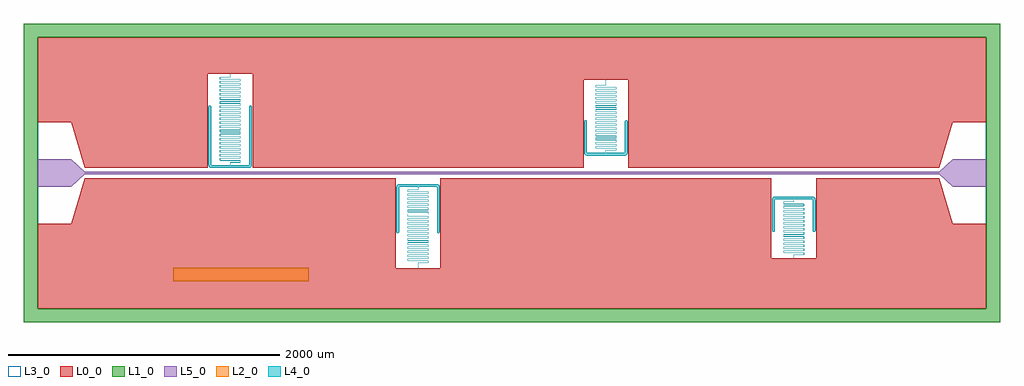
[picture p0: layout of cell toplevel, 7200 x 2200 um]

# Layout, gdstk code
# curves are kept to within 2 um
import gdstk
lib = gdstk.Library(unit=1e-6, precision=1e-09)
def R(c, l, rs):  # rectangles x0, y0, x1, y1
    for r in rs: c.add(gdstk.rectangle(r[:2], r[2:], *l))
def P(c, l, *ps):  # polygons
    for p in ps: c.add(gdstk.Polygon(p, *l))
L0_0 = (0, 0)
L1_0 = (1, 0)
L2_0 = (2, 0)
L3_0 = (3, 0)
L4_0 = (4, 0)
L5_0 = (5, 0)

toplevel = lib.new_cell('toplevel')
P(toplevel, L0_0, [(-1914,732.5),(-1914,37.5),(528,37.5),(528,688.167),(858,688.167),(858,37.5),(3150,37.5),(3250,375),(3500,375),(3500,1000),(-3500,1000),(-3500,375),(-3250,375),(-3150,37.5),(-2244,37.5),(-2244,732.5)],
  [(3500,-1000),(3500,-375),(3250,-375),(3150,-37.5),(2244,-37.5),(2244,-628.5),(1914,-628.5),(1914,-37.5),(-528,-37.5),(-528,-702.833),(-858,-702.833),(-858,-37.5),(-3150,-37.5),(-3250,-375),(-3500,-375),(-3500,-1000)])
P(toplevel, L1_0, [(3600,1100),(-3600,1100),(-3600,-1000),(-3500,-1000),(-3500,1000),(3500,1000),(3500,-1000),(-3500,-1000),(-3600,-1000),(-3600,-1100),(3600,-1100)])
R(toplevel, L2_0, [(-2500,-800,-1500,-700)])
R(toplevel, L3_0, [(-3500,-1000,3500,1000)])
P(toplevel, L4_0, [(-1947.256,37.5),(-1936.018,38.652),(-1927.664,42.765),(-1921.925,49.852),(-1919.25,59.469),(-1919,302.861),(-1939,302.861),(-1939.028,63.36),(-1940.06,58.461),(-1946.931,57.5),(-2069,57.5),(-2078.7,62.5),(-2078.291,77.175),(-2004.361,77.305),(-2003.703,78.388),(-2003.702,91.589),(-2004.693,92.78),(-2153.666,93.171),(-2153.696,106.609),(-2153.132,107.195),(-2003.928,107.636),(-2003.704,121.63),(-2004.73,122.785),(-2152.888,122.8),(-2153.7,123.606),(-2153.176,137.191),(-2003.961,137.594),(-2003.707,151.684),(-2004.755,152.787),(-2152.94,152.8),(-2153.7,153.591),(-2153.184,167.19),(-2004.035,167.513),(-2003.707,181.684),(-2004.755,182.787),(-2152.94,182.8),(-2153.7,183.591),(-2153.184,197.19),(-2004.118,197.442),(-2003.707,211.683),(-2004.755,212.787),(-2152.935,212.8),(-2153.7,213.591),(-2153.184,227.19),(-2004.211,227.379),(-2003.702,241.56),(-2004.755,242.787),(-2152.935,242.8),(-2153.699,243.48),(-2153.184,257.19),(-2004.407,257.287),(-2003.706,258.346),(-2003.702,271.56),(-2004.755,272.787),(-2152.935,272.8),(-2153.699,273.476),(-2153.184,287.19),(-2004.571,287.241),(-2003.706,288.34),(-2003.702,301.56),(-2005.111,302.8),(-2154.195,302.861),(-2152.964,302.2),(-2004.428,302.03),(-2004.798,287.812),(-2152.888,287.8),(-2153.959,287.492),(-2154.3,286.404),(-2154.287,273.249),(-2153.251,272.213),(-2004.458,272.061),(-2004.798,257.812),(-2152.888,257.8),(-2153.959,257.492),(-2154.3,256.404),(-2154.295,243.352),(-2153.251,242.213),(-2004.535,242.115),(-2004.798,227.812),(-2152.888,227.8),(-2153.959,227.492),(-2154.3,226.404),(-2154.289,213.274),(-2153.251,212.213),(-2004.686,212.17),(-2004.605,197.854),(-2153.245,197.787),(-2154.292,196.684),(-2154.3,183.59),(-2152.97,182.2),(-2004.815,182.19),(-2004.466,167.932),(-2153.245,167.787),(-2154.292,166.684),(-2154.3,153.59),(-2152.97,152.2),(-2004.815,152.19),(-2004.433,137.964),(-2153.251,137.787),(-2154.294,136.666),(-2154.3,123.595),(-2153.987,122.535),(-2152.888,122.2),(-2004.85,122.193),(-2004.303,121.595),(-2004.3,108.612),(-2005.112,107.8),(-2153.238,107.788),(-2154.294,106.653),(-2154.3,93.612),(-2153.982,92.529),(-2152.888,92.2),(-2004.811,92.19),(-2004.45,77.946),(-2078.481,77.746),(-2079.296,76.612),(-2079.3,62.5),(-2089,57.5),(-2211.878,57.504),(-2217.976,58.489),(-2218.998,64.94),(-2219,302.861),(-2239,302.861),(-2238.965,62.829),(-2236.945,51.792),(-2234.619,47.373),(-2231.507,43.761),(-2223.471,39.103),(-2213.255,37.524)],
  [(-2153.433,302.869),(-2153.631,303.067),(-2153.699,303.471),(-2153.698,316.567),(-2153.572,317.03),(-2153.184,317.19),(-2005.036,317.2),(-2004.526,317.252),(-2004.142,317.424),(-2003.875,317.718),(-2003.73,318.13),(-2003.707,331.678),(-2003.797,332.119),(-2004.007,332.459),(-2004.328,332.681),(-2004.755,332.787),(-2152.935,332.8),(-2153.476,332.891),(-2153.678,333.229),(-2153.698,346.567),(-2153.572,347.03),(-2153.184,347.19),(-2005.036,347.2),(-2004.532,347.25),(-2004.148,347.42),(-2003.883,347.705),(-2003.733,348.11),(-2003.707,361.677),(-2003.797,362.119),(-2004.007,362.459),(-2004.328,362.681),(-2004.755,362.787),(-2152.935,362.8),(-2153.471,362.888),(-2153.675,363.213),(-2153.698,376.567),(-2153.572,377.03),(-2153.184,377.19),(-2005.036,377.2),(-2004.532,377.25),(-2004.155,377.415),(-2003.887,377.699),(-2003.737,378.091),(-2003.707,391.677),(-2003.797,392.119),(-2004.007,392.459),(-2004.328,392.681),(-2004.755,392.787),(-2152.935,392.8),(-2153.468,392.887),(-2153.673,393.201),(-2153.698,406.567),(-2153.572,407.03),(-2153.18,407.191),(-2005.041,407.2),(-2004.545,407.247),(-2004.167,407.407),(-2003.898,407.68),(-2003.743,408.065),(-2003.707,421.677),(-2003.797,422.119),(-2004.007,422.459),(-2004.328,422.681),(-2004.755,422.787),(-2152.93,422.8),(-2153.46,422.882),(-2153.67,423.186),(-2153.698,436.567),(-2153.572,437.03),(-2153.18,437.191),(-2005.041,437.2),(-2004.552,437.245),(-2004.18,437.398),(-2003.907,437.667),(-2003.749,438.039),(-2003.707,451.677),(-2003.797,452.119),(-2004.007,452.459),(-2004.328,452.681),(-2004.755,452.787),(-2152.93,452.8),(-2153.454,452.879),(-2153.665,453.168),(-2153.698,466.567),(-2153.572,467.03),(-2153.18,467.191),(-2005.041,467.2),(-2004.558,467.244),(-2004.192,467.39),(-2003.92,467.648),(-2003.757,468.006),(-2003.707,481.671),(-2003.795,482.112),(-2004.002,482.453),(-2004.328,482.681),(-2004.755,482.787),(-2152.93,482.8),(-2153.445,482.875),(-2153.66,483.15),(-2153.698,496.563),(-2153.572,497.03),(-2153.18,497.191),(-2005.041,497.2),(-2004.205,497.383),(-2003.937,497.624),(-2003.768,497.967),(-2003.7,498.547),(-2003.707,511.671),(-2003.795,512.112),(-2004.002,512.453),(-2004.328,512.681),(-2004.755,512.787),(-2152.93,512.8),(-2153.436,512.871),(-2153.654,513.129),(-2153.698,526.563),(-2153.572,527.03),(-2153.18,527.191),(-2005.047,527.2),(-2004.231,527.368),(-2003.961,527.593),(-2003.783,527.921),(-2003.7,528.541),(-2003.707,541.672),(-2003.795,542.112),(-2004.002,542.453),(-2004.328,542.681),(-2004.755,542.787),(-2152.925,542.8),(-2153.421,542.864),(-2153.645,543.102),(-2153.698,556.563),(-2153.572,557.03),(-2153.18,557.191),(-2005.047,557.2),(-2004.25,557.357),(-2003.981,557.57),(-2003.802,557.868),(-2003.7,558.53),(-2003.706,571.665),(-2003.795,572.112),(-2004.002,572.453),(-2004.328,572.681),(-2004.755,572.787),(-2152.925,572.8),(-2153.405,572.858),(-2153.633,573.073),(-2153.7,573.55),(-2153.698,586.558),(-2153.574,587.028),(-2153.18,587.191),(-2005.052,587.2),(-2004.283,587.34),(-2003.831,587.802),(-2003.7,588.519),(-2003.706,601.659),(-2003.795,602.112),(-2004.002,602.453),(-2004.328,602.681),(-2004.755,602.787),(-2152.92,602.8),(-2153.385,602.85),(-2153.618,603.04),(-2153.7,603.54),(-2153.698,616.558),(-2153.574,617.028),(-2153.18,617.191),(-2005.058,617.2),(-2004.328,617.319),(-2003.871,617.724),(-2003.7,618.503),(-2003.706,631.653),(-2003.792,632.106),(-2004.002,632.453),(-2004.328,632.681),(-2004.755,632.787),(-2152.92,632.8),(-2153.361,632.843),(-2153.596,633.003),(-2153.7,633.53),(-2153.698,646.553),(-2153.574,647.028),(-2153.18,647.191),(-2005.063,647.2),(-2004.388,647.295),(-2003.937,647.624),(-2003.76,647.993),(-2003.701,648.48),(-2003.705,661.642),(-2003.79,662.099),(-2003.997,662.448),(-2004.322,662.678),(-2004.749,662.787),(-2152.914,662.8),(-2153.328,662.834),(-2153.565,662.962),(-2153.7,663.52),(-2153.699,676.544),(-2153.575,677.025),(-2153.18,677.191),(-2005.074,677.2),(-2004.473,677.266),(-2004.047,677.502),(-2003.79,677.901),(-2003.701,678.452),(-2003.704,691.618),(-2003.785,692.086),(-2003.991,692.442),(-2004.315,692.675),(-2004.749,692.787),(-2152.909,692.8),(-2153.514,692.916),(-2153.654,693.129),(-2153.699,693.5),(-2153.699,706.505),(-2153.602,706.987),(-2153.287,707.175),(-2080.069,707.2),(-2079.257,707.354),(-2078.843,707.776),(-2078.701,708.457),(-2078.7,732.5),(-2079.3,732.5),(-2079.3,708.52),(-2079.355,708.102),(-2079.535,707.885),(-2080.08,707.8),(-2153.416,707.761),(-2153.795,707.617),(-2154.067,707.37),(-2154.236,707.02),(-2154.298,706.571),(-2154.298,693.429),(-2154.184,692.835),(-2153.864,692.428),(-2153.461,692.249),(-2152.92,692.2),(-2004.82,692.191),(-2004.425,692.025),(-2004.301,691.539),(-2004.3,678.51),(-2004.456,677.941),(-2005.091,677.8),(-2153.251,677.787),(-2153.685,677.675),(-2154.008,677.442),(-2154.213,677.092),(-2154.296,676.63),(-2154.299,663.463),(-2154.226,662.947),(-2154.014,662.564),(-2153.573,662.281),(-2152.931,662.2),(-2004.82,662.191),(-2004.425,662.025),(-2004.302,661.548),(-2004.3,648.525),(-2004.418,647.984),(-2004.653,647.839),(-2005.086,647.8),(-2153.245,647.787),(-2153.678,647.678),(-2154.003,647.448),(-2154.21,647.099),(-2154.295,646.648),(-2154.299,633.491),(-2154.25,633.032),(-2154.097,632.673),(-2153.645,632.308),(-2152.937,632.2),(-2004.82,632.191),(-2004.426,632.028),(-2004.302,631.553),(-2004.3,618.54),(-2004.391,618.024),(-2004.625,617.847),(-2005.08,617.8),(-2153.245,617.787),(-2153.671,617.681),(-2153.998,617.453),(-2154.205,617.112),(-2154.294,616.659),(-2154.3,603.508),(-2154.15,602.763),(-2153.698,602.331),(-2152.948,602.2),(-2004.82,602.191),(-2004.426,602.028),(-2004.302,601.558),(-2004.3,588.545),(-2004.373,588.058),(-2004.602,587.855),(-2005.075,587.8),(-2153.245,587.787),(-2153.671,587.681),(-2153.998,587.453),(-2154.205,587.112),(-2154.294,586.665),(-2154.3,573.525),(-2154.184,572.835),(-2153.73,572.347),(-2152.948,572.2),(-2004.82,572.191),(-2004.426,572.028),(-2004.302,571.558),(-2004.36,558.089),(-2004.586,557.861),(-2005.075,557.8),(-2153.245,557.787),(-2153.671,557.681),(-2153.998,557.453),(-2154.205,557.112),(-2154.294,556.665),(-2154.3,543.536),(-2154.208,542.894),(-2154.029,542.582),(-2153.763,542.364),(-2152.953,542.2),(-2004.82,542.191),(-2004.428,542.03),(-2004.302,541.563),(-2004.35,528.115),(-2004.573,527.867),(-2005.075,527.8),(-2153.245,527.787),(-2153.671,527.681),(-2153.998,527.453),(-2154.205,527.112),(-2154.293,526.672),(-2154.3,513.547),(-2154.226,512.947),(-2154.053,512.612),(-2153.782,512.375),(-2152.953,512.2),(-2004.82,512.191),(-2004.428,512.03),(-2004.302,511.563),(-2004.343,498.139),(-2004.561,497.872),(-2005.07,497.8),(-2153.245,497.787),(-2153.671,497.681),(-2153.998,497.453),(-2154.205,497.112),(-2154.293,496.671),(-2154.238,482.987),(-2154.072,482.636),(-2153.801,482.387),(-2153.435,482.243),(-2152.959,482.2),(-2004.82,482.191),(-2004.428,482.03),(-2004.302,481.563),(-2004.337,468.16),(-2004.549,467.878),(-2005.07,467.8),(-2153.245,467.787),(-2153.671,467.681),(-2153.992,467.459),(-2154.203,467.119),(-2154.293,466.677),(-2154.246,453.019),(-2154.085,452.655),(-2153.814,452.394),(-2153.441,452.244),(-2152.959,452.2),(-2004.82,452.191),(-2004.428,452.03),(-2004.302,451.567),(-2004.332,438.179),(-2004.543,437.881),(-2005.07,437.8),(-2153.245,437.787),(-2153.671,437.681),(-2153.992,437.459),(-2154.203,437.119),(-2154.293,436.677),(-2154.254,423.052),(-2154.097,422.673),(-2153.827,422.403),(-2153.454,422.247),(-2152.959,422.2),(-2004.82,422.191),(-2004.428,422.03),(-2004.302,421.567),(-2004.329,408.194),(-2004.535,407.885),(-2005.065,407.8),(-2153.245,407.787),(-2153.671,407.681),(-2153.992,407.459),(-2154.203,407.119),(-2154.293,406.677),(-2154.26,393.078),(-2154.106,392.686),(-2153.839,392.411),(-2153.461,392.249),(-2152.964,392.2),(-2004.815,392.19),(-2004.428,392.03),(-2004.302,391.567),(-2004.325,378.209),(-2004.529,377.888),(-2005.065,377.8),(-2153.245,377.787),(-2153.671,377.681),(-2153.992,377.459),(-2154.203,377.119),(-2154.293,376.677),(-2154.264,363.097),(-2154.113,362.699),(-2153.845,362.415),(-2153.468,362.25),(-2152.964,362.2),(-2004.815,362.19),(-2004.428,362.03),(-2004.302,361.567),(-2004.323,348.221),(-2004.526,347.89),(-2005.065,347.8),(-2153.245,347.787),(-2153.671,347.681),(-2153.992,347.459),(-2154.203,347.119),(-2154.293,346.677),(-2154.269,333.123),(-2154.121,332.711),(-2153.852,332.42),(-2153.468,332.25),(-2152.964,332.2),(-2004.815,332.19),(-2004.428,332.03),(-2004.302,331.567),(-2004.321,318.233),(-2004.521,317.893),(-2005.065,317.8),(-2153.245,317.787),(-2153.717,317.66),(-2154.058,317.382),(-2154.25,316.968),(-2154.3,316.404),(-2154.294,303.334),(-2154.195,302.861)],
  [(-2219,487.5),(-2221.627,494.256),(-2228.564,497.49),(-2235.756,494.873),(-2238.962,488.372),(-2239,302.861),(-2219,302.861)],
  [(-1919,487.5),(-1921.627,494.256),(-1928.564,497.49),(-1935.756,494.873),(-1938.962,488.372),(-1939,302.861),(-1919,302.861)],
  [(-842.564,-442.824),(-836.244,-440.206),(-833.038,-433.705),(-833,-303.445),(-853,-303.445),(-852.962,-433.705),(-849.428,-440.494)],
  [(-692.7,-663.883),(-692.561,-663.291),(-692.354,-663.174),(-691.925,-663.133),(-618.584,-663.095),(-618.211,-662.954),(-617.937,-662.71),(-617.768,-662.366),(-617.702,-661.922),(-617.701,-648.779),(-617.868,-648.064),(-618.348,-647.644),(-619.074,-647.533),(-767.18,-647.524),(-767.575,-647.359),(-767.699,-646.877),(-767.7,-633.853),(-767.648,-633.445),(-767.465,-633.218),(-766.914,-633.133),(-618.749,-633.12),(-618.322,-633.012),(-617.997,-632.781),(-617.79,-632.432),(-617.705,-631.975),(-617.701,-618.813),(-617.792,-618.228),(-618.082,-617.804),(-618.532,-617.583),(-619.063,-617.533),(-767.18,-617.524),(-767.574,-617.361),(-767.698,-616.886),(-767.7,-603.863),(-767.554,-603.283),(-767.321,-603.165),(-766.92,-603.133),(-618.755,-603.121),(-618.328,-603.015),(-618.002,-602.787),(-617.792,-602.439),(-617.706,-601.987),(-617.7,-588.836),(-617.766,-588.307),(-617.961,-587.927),(-618.401,-587.623),(-619.058,-587.533),(-767.18,-587.524),(-767.574,-587.361),(-767.698,-586.891),(-767.7,-573.873),(-767.599,-573.341),(-767.343,-573.171),(-766.92,-573.133),(-618.755,-573.121),(-618.328,-573.015),(-618.002,-572.787),(-617.795,-572.446),(-617.706,-571.993),(-617.7,-558.853),(-617.871,-558.058),(-618.361,-557.638),(-619.052,-557.533),(-767.18,-557.524),(-767.574,-557.361),(-767.698,-556.891),(-767.7,-543.883),(-767.615,-543.368),(-767.361,-543.176),(-766.925,-543.133),(-618.755,-543.121),(-618.328,-543.015),(-618.002,-542.787),(-617.795,-542.446),(-617.706,-541.999),(-617.7,-528.864),(-617.837,-528.122),(-618.041,-527.841),(-618.328,-527.652),(-619.047,-527.534),(-767.18,-527.524),(-767.572,-527.363),(-767.698,-526.896),(-767.7,-513.888),(-767.626,-513.391),(-767.378,-513.181),(-766.925,-513.133),(-618.755,-513.121),(-618.328,-513.015),(-618.002,-512.787),(-617.795,-512.446),(-617.707,-512.005),(-617.7,-498.875),(-617.819,-498.162),(-618.018,-497.863),(-618.309,-497.661),(-619.047,-497.533),(-767.18,-497.524),(-767.572,-497.363),(-767.698,-496.896),(-767.7,-483.893),(-767.637,-483.416),(-767.392,-483.186),(-766.93,-483.133),(-618.755,-483.121),(-618.328,-483.015),(-618.002,-482.787),(-617.795,-482.446),(-617.707,-482.005),(-617.7,-468.88),(-617.8,-468.208),(-617.966,-467.921),(-618.244,-467.694),(-619.041,-467.533),(-767.18,-467.524),(-767.572,-467.363),(-767.698,-466.896),(-767.645,-453.435),(-767.398,-453.188),(-766.93,-453.133),(-618.755,-453.121),(-618.328,-453.015),(-618.002,-452.787),(-617.795,-452.446),(-617.707,-452.005),(-617.7,-438.891),(-617.772,-438.287),(-617.947,-437.945),(-618.192,-437.724),(-618.558,-437.577),(-619.041,-437.533),(-767.18,-437.524),(-767.572,-437.363),(-767.698,-436.901),(-767.665,-423.501),(-767.454,-423.213),(-766.93,-423.133),(-618.755,-423.121),(-618.328,-423.015),(-618.008,-422.792),(-617.797,-422.452),(-617.707,-422.011),(-617.7,-408.897),(-617.776,-408.274),(-617.937,-407.957),(-618.218,-407.708),(-619.041,-407.533),(-767.18,-407.524),(-767.572,-407.363),(-767.698,-406.901),(-767.67,-393.52),(-767.46,-393.216),(-766.93,-393.133),(-618.755,-393.121),(-618.328,-393.015),(-618.008,-392.792),(-617.797,-392.452),(-617.707,-392.011),(-617.755,-378.346),(-617.898,-378.013),(-618.167,-377.74),(-618.545,-377.58),(-619.041,-377.533),(-767.18,-377.524),(-767.572,-377.363),(-767.698,-376.901),(-767.673,-363.535),(-767.468,-363.22),(-766.935,-363.133),(-618.755,-363.121),(-618.328,-363.015),(-618.008,-362.792),(-617.797,-362.452),(-617.707,-362.011),(-617.75,-348.366),(-617.915,-347.988),(-618.192,-347.724),(-618.584,-347.572),(-619.036,-347.533),(-767.184,-347.524),(-767.572,-347.363),(-767.698,-346.901),(-767.675,-333.546),(-767.471,-333.221),(-766.935,-333.133),(-618.755,-333.121),(-618.328,-333.015),(-618.008,-332.792),(-617.797,-332.452),(-617.707,-332.011),(-617.745,-318.385),(-617.911,-317.994),(-618.148,-317.753),(-618.532,-317.584),(-619.036,-317.533),(-767.184,-317.524),(-767.572,-317.363),(-767.698,-316.901),(-767.648,-303.445),(-768.267,-303.445),(-768.293,-317.011),(-768.203,-317.452),(-767.992,-317.792),(-767.672,-318.015),(-767.245,-318.121),(-619.065,-318.133),(-618.526,-318.223),(-618.323,-318.554),(-618.302,-331.901),(-618.428,-332.363),(-618.816,-332.524),(-766.964,-332.533),(-767.468,-332.584),(-767.845,-332.749),(-768.113,-333.032),(-768.264,-333.431),(-768.293,-347.011),(-768.203,-347.452),(-767.992,-347.792),(-767.672,-348.015),(-767.245,-348.121),(-619.065,-348.133),(-618.529,-348.221),(-618.325,-348.543),(-618.302,-361.901),(-618.428,-362.363),(-618.816,-362.524),(-766.964,-362.533),(-767.461,-362.582),(-767.839,-362.744),(-768.105,-363.019),(-768.26,-363.411),(-768.293,-377.011),(-768.203,-377.452),(-767.992,-377.792),(-767.672,-378.015),(-767.245,-378.121),(-619.065,-378.133),(-618.535,-378.218),(-618.329,-378.527),(-618.302,-391.901),(-618.428,-392.363),(-618.82,-392.524),(-766.959,-392.533),(-767.454,-392.58),(-767.827,-392.736),(-768.067,-392.963),(-768.241,-393.333),(-768.293,-407.011),(-768.203,-407.452),(-767.992,-407.792),(-767.672,-408.015),(-767.245,-408.121),(-619.07,-408.133),(-618.543,-408.214),(-618.332,-408.512),(-618.302,-421.901),(-618.428,-422.363),(-618.82,-422.524),(-766.959,-422.533),(-767.776,-422.705),(-768.058,-422.951),(-768.232,-423.3),(-768.3,-423.891),(-768.293,-437.011),(-768.203,-437.452),(-767.992,-437.792),(-767.672,-438.015),(-767.245,-438.121),(-619.07,-438.133),(-618.595,-438.191),(-618.353,-438.442),(-618.302,-451.896),(-618.428,-452.363),(-618.82,-452.524),(-766.959,-452.533),(-767.763,-452.697),(-768.014,-452.897),(-768.208,-453.228),(-768.3,-453.886),(-768.293,-467.005),(-768.205,-467.446),(-767.998,-467.787),(-767.672,-468.015),(-767.245,-468.121),(-619.07,-468.133),(-618.561,-468.205),(-618.359,-468.425),(-618.302,-481.896),(-618.428,-482.363),(-618.82,-482.524),(-766.953,-482.533),(-767.782,-482.708),(-768.024,-482.909),(-768.21,-483.234),(-768.3,-483.88),(-768.293,-497.005),(-768.205,-497.446),(-767.998,-497.787),(-767.672,-498.015),(-767.245,-498.121),(-619.075,-498.133),(-618.573,-498.2),(-618.368,-498.403),(-618.3,-498.893),(-618.302,-511.896),(-618.428,-512.363),(-618.82,-512.524),(-766.953,-512.533),(-767.685,-512.658),(-767.97,-512.852),(-768.172,-513.142),(-768.3,-513.869),(-768.294,-526.999),(-768.205,-527.446),(-767.998,-527.787),(-767.672,-528.015),(-767.245,-528.121),(-619.075,-528.133),(-618.629,-528.179),(-618.378,-528.382),(-618.3,-528.888),(-618.302,-541.891),(-618.426,-542.361),(-618.82,-542.524),(-766.948,-542.533),(-767.73,-542.68),(-768.146,-543.09),(-768.3,-543.858),(-768.294,-556.999),(-768.205,-557.446),(-767.998,-557.787),(-767.672,-558.015),(-767.245,-558.121),(-619.075,-558.133),(-618.602,-558.188),(-618.393,-558.354),(-618.3,-558.878),(-618.302,-571.891),(-618.426,-572.361),(-618.82,-572.524),(-766.948,-572.533),(-767.619,-572.63),(-768.062,-572.957),(-768.243,-573.34),(-768.3,-573.842),(-768.294,-586.993),(-768.205,-587.446),(-767.998,-587.787),(-767.672,-588.015),(-767.245,-588.121),(-619.08,-588.133),(-618.668,-588.168),(-618.433,-588.297),(-618.3,-588.873),(-618.302,-601.886),(-618.426,-602.361),(-618.82,-602.524),(-766.937,-602.533),(-767.494,-602.59),(-767.959,-602.841),(-768.222,-603.267),(-768.299,-603.825),(-768.295,-616.981),(-768.21,-617.432),(-768.003,-617.781),(-767.678,-618.012),(-767.245,-618.121),(-619.086,-618.133),(-618.46,-618.27),(-618.3,-618.858),(-618.302,-631.882),(-618.425,-632.359),(-618.82,-632.524),(-766.931,-632.533),(-767.435,-632.576),(-767.82,-632.732),(-768.184,-633.168),(-768.299,-633.796),(-768.296,-646.963),(-768.213,-647.426),(-768.008,-647.775),(-767.685,-648.009),(-767.251,-648.12),(-618.589,-648.193),(-618.372,-648.394),(-618.3,-648.843),(-618.301,-661.848),(-618.399,-662.323),(-618.713,-662.509),(-691.942,-662.533),(-692.474,-662.585),(-692.864,-662.762),(-693.195,-663.195),(-693.3,-663.842),(-693.3,-702.833),(-692.7,-702.833)],
  [(-542.564,-442.824),(-536.244,-440.206),(-533.038,-433.705),(-533,-303.445),(-553,-303.445),(-552.962,-433.705),(-549.428,-440.494)],
  [(-533,-111.179),(-534.152,-99.851),(-538.37,-91.365),(-545.768,-85.554),(-555.791,-83.007),(-826.25,-82.84),(-834.92,-83.719),(-842.032,-86.517),(-846.502,-90.072),(-849.86,-94.769),(-851.954,-100.252),(-852.917,-106.98),(-853,-303.445),(-833,-303.445),(-832.962,-108.417),(-831.901,-103.766),(-824.901,-102.833),(-703,-102.833),(-693.3,-107.833),(-693.709,-122.508),(-767.639,-122.638),(-768.296,-123.721),(-768.3,-136.727),(-767.416,-138.095),(-618.35,-138.448),(-618.786,-152.52),(-766.888,-152.533),(-768.3,-153.94),(-768.291,-167.035),(-767.276,-168.117),(-618.456,-168.274),(-618.837,-182.526),(-766.888,-182.533),(-768.3,-183.934),(-768.294,-196.987),(-767.245,-198.121),(-618.532,-198.22),(-618.816,-212.524),(-766.888,-212.533),(-768.3,-213.934),(-768.296,-226.957),(-767.269,-228.118),(-618.694,-228.162),(-618.595,-242.476),(-767.269,-242.549),(-768.294,-243.674),(-768.3,-256.738),(-766.888,-258.133),(-618.798,-258.145),(-618.493,-272.423),(-767.245,-272.546),(-768.294,-273.668),(-768.3,-286.738),(-766.888,-288.133),(-618.803,-288.144),(-618.428,-302.363),(-766.964,-302.533),(-768.267,-303.445),(-618.911,-303.131),(-617.7,-301.738),(-617.707,-288.662),(-618.755,-287.546),(-767.572,-287.363),(-767.197,-273.144),(-619.111,-273.133),(-617.7,-271.738),(-617.706,-258.674),(-618.749,-257.547),(-767.542,-257.394),(-767.202,-243.145),(-618.997,-243.133),(-617.7,-241.711),(-617.708,-228.644),(-618.761,-227.545),(-767.457,-227.453),(-767.18,-213.143),(-619.058,-213.133),(-617.7,-211.836),(-617.705,-198.686),(-618.755,-197.546),(-767.31,-197.504),(-767.421,-183.197),(-618.78,-183.123),(-617.707,-182.011),(-617.7,-168.94),(-619.111,-167.533),(-767.15,-167.527),(-767.509,-153.246),(-618.761,-153.121),(-617.706,-151.987),(-617.7,-138.945),(-619.111,-137.533),(-767.189,-137.523),(-767.55,-123.28),(-693.519,-123.08),(-692.703,-121.945),(-692.7,-107.833),(-683,-102.833),(-560.201,-102.837),(-554.099,-103.766),(-553.001,-110.435),(-553,-303.445),(-533,-303.445)],
  [(824.744,128.167),(835.715,129.247),(843.803,133.025),(849.634,139.687),(852.568,148.677),(853,318.884),(833,318.884),(832.947,153.416),(831.892,149.093),(825.152,148.167),(703,148.167),(693.3,153.167),(693.709,167.841),(767.639,167.972),(768.296,169.055),(768.297,182.255),(767.307,183.447),(618.35,183.782),(618.786,197.854),(766.888,197.867),(768.3,199.273),(768.291,212.368),(767.202,213.458),(618.491,213.579),(618.837,227.859),(766.888,227.867),(768.3,229.268),(768.294,242.32),(767.245,243.454),(618.579,243.531),(618.717,257.843),(767.245,257.879),(768.294,259.013),(768.299,272.164),(766.942,273.467),(618.82,273.476),(618.532,287.78),(767.245,287.879),(768.294,289.007),(768.3,302.147),(766.948,303.467),(618.82,303.476),(618.45,317.72),(766.888,317.867),(768.283,318.884),(619.052,318.467),(617.7,317.142),(617.706,304.001),(618.755,302.879),(767.542,302.728),(767.18,288.476),(619.052,288.467),(617.7,287.153),(617.706,274.007),(618.755,272.879),(767.521,272.746),(767.18,258.476),(619.058,258.467),(617.7,257.17),(617.705,244.019),(618.755,242.879),(767.492,242.766),(767.18,228.476),(619.069,228.467),(617.701,227.198),(617.705,214.031),(618.749,212.88),(767.239,212.85),(767.421,198.531),(618.761,198.454),(617.706,197.32),(617.7,184.278),(619.111,182.867),(767.189,182.856),(767.519,168.586),(693.519,168.413),(692.703,167.279),(692.7,153.167),(683,148.167),(560.36,148.169),(554.185,149.044),(553.004,155.289),(553,318.884),(533,318.884),(533.095,152.092),(533.98,145.85),(535.925,140.518),(539.03,135.916),(543.145,132.366),(550.418,129.213),(559.553,128.176)],
  [(768.294,319.001),(768.294,332.332),(768.2,332.792),(767.987,333.132),(767.672,333.348),(767.202,333.458),(619.112,333.467),(618.535,333.552),(618.324,333.884),(618.303,347.257),(618.439,347.709),(618.837,347.859),(766.888,347.867),(767.422,347.906),(767.808,348.057),(768.089,348.328),(768.263,348.757),(768.295,362.314),(768.203,362.786),(767.987,363.132),(767.691,363.339),(767.208,363.457),(619.112,363.467),(618.535,363.552),(618.324,363.884),(618.302,377.243),(618.43,377.698),(618.833,377.858),(766.888,377.867),(767.422,377.906),(767.808,378.057),(768.089,378.328),(768.263,378.757),(768.291,392.368),(768.184,392.832),(767.976,393.143),(767.625,393.367),(767.22,393.456),(619.112,393.467),(618.538,393.55),(618.325,393.876),(618.301,407.186),(618.414,407.678),(618.807,407.856),(766.959,407.867),(767.441,407.911),(767.808,408.057),(768.08,408.315),(768.243,408.673),(768.293,422.338),(768.205,422.779),(767.998,423.12),(767.672,423.348),(767.245,423.454),(619.07,423.467),(618.549,423.544),(618.337,423.827),(618.302,437.229),(618.428,437.696),(618.82,437.857),(766.959,437.867),(767.435,437.909),(767.801,438.053),(768.071,438.303),(768.238,438.653),(768.293,452.338),(768.205,452.779),(767.998,453.12),(767.672,453.348),(767.245,453.454),(619.07,453.467),(618.561,453.539),(618.343,453.806),(618.302,467.229),(618.428,467.696),(618.82,467.857),(766.953,467.867),(767.782,468.042),(768.053,468.278),(768.226,468.614),(768.3,469.214),(768.293,482.338),(768.205,482.779),(767.998,483.12),(767.672,483.348),(767.245,483.454),(619.075,483.467),(618.573,483.533),(618.35,483.782),(618.302,497.229),(618.428,497.696),(618.82,497.857),(766.953,497.867),(767.763,498.031),(768.029,498.248),(768.208,498.561),(768.3,499.203),(768.294,512.332),(768.205,512.779),(767.998,513.12),(767.672,513.348),(767.245,513.454),(619.075,513.467),(618.586,513.528),(618.36,513.755),(618.302,527.225),(618.426,527.694),(618.82,527.857),(766.948,527.867),(767.73,528.013),(767.998,528.213),(768.184,528.502),(768.3,529.192),(768.294,542.332),(768.205,542.779),(767.998,543.12),(767.672,543.348),(767.245,543.454),(619.075,543.467),(618.602,543.522),(618.374,543.725),(618.3,544.211),(618.302,557.225),(618.426,557.694),(618.82,557.857),(766.948,557.867),(767.698,557.997),(768.15,558.43),(768.3,559.175),(768.294,572.326),(768.205,572.779),(767.998,573.12),(767.672,573.348),(767.245,573.454),(619.08,573.467),(618.625,573.514),(618.391,573.69),(618.3,574.206),(618.302,587.22),(618.426,587.694),(618.82,587.857),(766.937,587.867),(767.645,587.974),(768.097,588.34),(768.25,588.699),(768.299,589.158),(768.295,602.314),(768.21,602.766),(768.003,603.114),(767.678,603.345),(767.245,603.454),(619.086,603.467),(618.653,603.505),(618.418,603.65),(618.3,604.191),(618.302,617.215),(618.425,617.692),(618.82,617.857),(766.931,617.867),(767.573,617.947),(768.014,618.231),(768.226,618.614),(768.299,619.13),(768.296,632.296),(768.213,632.759),(768.008,633.109),(767.685,633.342),(767.251,633.453),(619.091,633.467),(618.456,633.607),(618.3,634.176),(618.301,647.181),(618.399,647.656),(618.713,647.842),(691.942,647.867),(692.474,647.918),(692.864,648.095),(693.195,648.528),(693.3,649.175),(693.3,688.167),(692.7,688.167),(692.7,649.216),(692.658,648.809),(692.514,648.582),(691.925,648.467),(618.584,648.428),(618.211,648.288),(617.937,648.043),(617.768,647.7),(617.702,647.255),(617.701,634.113),(617.792,633.561),(618.047,633.169),(618.473,632.933),(619.074,632.867),(767.18,632.857),(767.575,632.692),(767.699,632.21),(767.7,619.186),(767.565,618.629),(767.328,618.5),(766.914,618.467),(618.749,618.453),(618.322,618.345),(617.997,618.114),(617.79,617.766),(617.705,617.308),(617.701,604.147),(617.76,603.66),(617.937,603.29),(618.388,602.961),(619.063,602.867),(767.18,602.857),(767.574,602.694),(767.698,602.22),(767.7,589.196),(767.596,588.67),(767.361,588.509),(766.92,588.467),(618.755,588.454),(618.328,588.348),(618.002,588.12),(617.792,587.772),(617.706,587.32),(617.7,574.169),(617.871,573.391),(618.328,572.985),(619.058,572.867),(767.18,572.857),(767.574,572.694),(767.698,572.225),(767.7,559.206),(767.618,558.707),(767.385,558.517),(766.92,558.467),(618.755,558.454),(618.328,558.348),(618.002,558.12),(617.795,557.779),(617.706,557.326),(617.7,544.186),(617.831,543.469),(618.283,543.007),(619.052,542.867),(767.18,542.857),(767.574,542.694),(767.698,542.225),(767.7,529.216),(767.633,528.74),(767.405,528.524),(766.925,528.467),(618.755,528.454),(618.328,528.348),(618.002,528.12),(617.795,527.779),(617.706,527.332),(617.7,514.197),(617.802,513.535),(617.981,513.236),(618.25,513.024),(619.047,512.867),(767.18,512.857),(767.572,512.696),(767.698,512.229),(767.645,498.768),(767.421,498.531),(766.925,498.467),(618.755,498.454),(618.328,498.348),(618.002,498.12),(617.795,497.779),(617.707,497.338),(617.7,484.208),(617.783,483.587),(617.961,483.26),(618.231,483.034),(619.047,482.867),(767.18,482.857),(767.572,482.696),(767.698,482.229),(767.654,468.795),(767.436,468.537),(766.93,468.467),(618.755,468.454),(618.328,468.348),(618.002,468.12),(617.795,467.779),(617.707,467.338),(617.7,454.214),(617.768,453.634),(617.937,453.29),(618.205,453.049),(618.565,452.909),(619.041,452.867),(767.18,452.857),(767.572,452.696),(767.698,452.229),(767.66,438.816),(767.445,438.542),(766.93,438.467),(618.755,438.454),(618.328,438.348),(618.002,438.12),(617.795,437.779),(617.707,437.338),(617.757,423.673),(617.92,423.315),(618.192,423.057),(618.558,422.911),(619.041,422.867),(767.18,422.857),(767.572,422.696),(767.698,422.229),(767.663,408.827),(767.451,408.544),(766.93,408.467),(618.755,408.454),(618.296,408.333),(617.997,408.114),(617.802,407.799),(617.706,407.332),(617.741,393.738),(617.894,393.353),(618.199,393.053),(618.584,392.905),(619.111,392.867),(767.172,392.858),(767.575,392.692),(767.698,392.239),(767.676,378.884),(767.465,378.552),(766.888,378.467),(618.786,378.457),(618.381,378.37),(618.029,378.148),(617.805,377.805),(617.71,377.381),(617.737,363.757),(617.911,363.328),(618.192,363.057),(618.578,362.906),(619.111,362.867),(767.167,362.858),(767.565,362.705),(767.697,362.253),(767.676,348.884),(767.465,348.552),(766.888,348.467),(618.792,348.457),(618.315,348.342),(618.024,348.143),(617.822,347.845),(617.712,347.405),(617.736,333.764),(617.911,333.328),(618.192,333.057),(618.578,332.906),(619.111,332.867),(767.158,332.859),(767.556,332.715),(767.697,332.262),(767.676,318.884),(768.283,318.884)],
  [(553,378.167),(550.66,384.595),(544.736,388.015),(537.627,386.601),(533.463,381.174),(533,318.884),(553,318.884)],
  [(853,378.167),(850.66,384.595),(844.736,388.015),(837.627,386.601),(833.463,381.174),(833,318.884),(853,318.884)],
  [(1929.436,-433.49),(1935.756,-430.873),(1938.962,-424.372),(1939,-318.932),(1919,-318.932),(1919.038,-424.372),(1922.244,-430.873)],
  [(2079.3,-604.52),(2079.45,-603.946),(2079.976,-603.801),(2153.468,-603.75),(2153.87,-603.567),(2154.121,-603.288),(2154.26,-602.922),(2154.3,-602.388),(2154.294,-589.34),(2154.085,-588.655),(2153.625,-588.3),(2152.92,-588.2),(2004.82,-588.191),(2004.425,-588.025),(2004.301,-587.539),(2004.3,-574.51),(2004.359,-574.092),(2004.503,-573.904),(2005.091,-573.8),(2153.251,-573.787),(2153.685,-573.675),(2154.008,-573.442),(2154.213,-573.092),(2154.296,-572.63),(2154.299,-559.463),(2154.184,-558.835),(2153.876,-558.437),(2153.507,-558.26),(2152.931,-558.2),(2004.82,-558.191),(2004.425,-558.025),(2004.302,-557.548),(2004.3,-544.525),(2004.437,-543.96),(2004.653,-543.839),(2005.086,-543.8),(2153.245,-543.787),(2153.678,-543.678),(2154.003,-543.448),(2154.21,-543.099),(2154.295,-542.648),(2154.299,-529.491),(2154.236,-528.98),(2154.053,-528.612),(2153.573,-528.281),(2152.937,-528.2),(2004.82,-528.191),(2004.426,-528.028),(2004.302,-527.553),(2004.3,-514.54),(2004.411,-513.993),(2004.625,-513.847),(2005.08,-513.8),(2153.245,-513.787),(2153.671,-513.681),(2153.998,-513.453),(2154.205,-513.112),(2154.294,-512.659),(2154.3,-499.508),(2154.11,-498.692),(2153.619,-498.297),(2152.948,-498.2),(2004.82,-498.191),(2004.426,-498.027),(2004.302,-497.558),(2004.3,-484.545),(2004.393,-484.021),(2004.602,-483.855),(2005.075,-483.8),(2153.245,-483.787),(2153.671,-483.681),(2153.998,-483.453),(2154.205,-483.112),(2154.294,-482.665),(2154.3,-469.525),(2154.146,-468.757),(2153.942,-468.491),(2153.652,-468.31),(2152.948,-468.2),(2004.82,-468.191),(2004.426,-468.027),(2004.302,-467.558),(2004.3,-454.555),(2004.378,-454.049),(2004.586,-453.861),(2005.075,-453.8),(2153.245,-453.787),(2153.671,-453.681),(2153.998,-453.453),(2154.205,-453.112),(2154.294,-452.665),(2154.3,-439.536),(2154.208,-438.894),(2154.029,-438.582),(2153.763,-438.364),(2152.953,-438.2),(2004.82,-438.191),(2004.428,-438.03),(2004.302,-437.563),(2004.35,-424.115),(2004.573,-423.867),(2005.075,-423.8),(2153.245,-423.787),(2153.671,-423.681),(2153.998,-423.453),(2154.205,-423.112),(2154.293,-422.671),(2154.3,-409.547),(2154.21,-408.901),(2154.024,-408.576),(2153.743,-408.353),(2152.953,-408.2),(2004.82,-408.191),(2004.428,-408.03),(2004.302,-407.563),(2004.343,-394.139),(2004.561,-393.872),(2005.07,-393.8),(2153.245,-393.787),(2153.671,-393.681),(2153.998,-393.453),(2154.205,-393.112),(2154.293,-392.671),(2154.238,-378.987),(2154.072,-378.636),(2153.801,-378.387),(2153.435,-378.243),(2152.959,-378.2),(2004.82,-378.191),(2004.428,-378.03),(2004.302,-377.563),(2004.337,-364.16),(2004.549,-363.878),(2005.07,-363.8),(2153.245,-363.787),(2153.671,-363.681),(2153.992,-363.459),(2154.203,-363.119),(2154.293,-362.677),(2154.3,-349.558),(2154.232,-348.967),(2154.058,-348.618),(2153.776,-348.371),(2152.959,-348.2),(2004.82,-348.191),(2004.428,-348.03),(2004.302,-347.567),(2004.332,-334.179),(2004.543,-333.881),(2005.07,-333.8),(2153.245,-333.787),(2153.671,-333.681),(2153.992,-333.459),(2154.203,-333.119),(2154.293,-332.678),(2154.3,-319.563),(2154.221,-318.932),(2153.534,-318.932),(2153.67,-319.186),(2153.7,-319.575),(2153.698,-332.567),(2153.572,-333.03),(2153.18,-333.191),(2005.041,-333.2),(2004.552,-333.245),(2004.18,-333.398),(2003.907,-333.667),(2003.749,-334.039),(2003.707,-347.677),(2003.797,-348.119),(2004.007,-348.459),(2004.328,-348.681),(2004.755,-348.787),(2152.93,-348.8),(2153.454,-348.879),(2153.665,-349.168),(2153.698,-362.567),(2153.572,-363.03),(2153.18,-363.191),(2005.041,-363.2),(2004.558,-363.244),(2004.192,-363.39),(2003.92,-363.648),(2003.772,-363.954),(2003.7,-364.558),(2003.707,-377.671),(2003.795,-378.112),(2004.002,-378.453),(2004.328,-378.681),(2004.755,-378.787),(2152.93,-378.8),(2153.398,-378.855),(2153.645,-379.102),(2153.698,-392.563),(2153.572,-393.03),(2153.18,-393.191),(2005.041,-393.2),(2004.205,-393.383),(2003.937,-393.624),(2003.768,-393.967),(2003.7,-394.547),(2003.707,-407.671),(2003.795,-408.112),(2004.002,-408.453),(2004.328,-408.681),(2004.755,-408.787),(2152.93,-408.8),(2153.436,-408.871),(2153.654,-409.129),(2153.698,-422.563),(2153.572,-423.03),(2153.18,-423.191),(2005.047,-423.2),(2004.231,-423.368),(2003.8,-423.875),(2003.7,-424.541),(2003.707,-437.671),(2003.795,-438.112),(2004.002,-438.453),(2004.328,-438.681),(2004.755,-438.787),(2152.925,-438.8),(2153.421,-438.864),(2153.645,-439.102),(2153.698,-452.563),(2153.572,-453.03),(2153.18,-453.191),(2005.047,-453.2),(2004.328,-453.319),(2004.041,-453.507),(2003.837,-453.789),(2003.7,-454.53),(2003.706,-467.665),(2003.795,-468.112),(2004.002,-468.453),(2004.328,-468.681),(2004.755,-468.787),(2152.925,-468.8),(2153.361,-468.843),(2153.615,-469.035),(2153.7,-469.55),(2153.698,-482.558),(2153.574,-483.027),(2153.18,-483.191),(2005.052,-483.2),(2004.361,-483.305),(2003.871,-483.724),(2003.7,-484.519),(2003.706,-497.659),(2003.795,-498.112),(2004.002,-498.453),(2004.328,-498.681),(2004.755,-498.787),(2152.92,-498.8),(2153.385,-498.85),(2153.599,-499.008),(2153.7,-499.54),(2153.698,-512.558),(2153.574,-513.028),(2153.18,-513.191),(2005.058,-513.2),(2004.328,-513.319),(2003.915,-513.655),(2003.766,-513.973),(2003.7,-514.503),(2003.706,-527.654),(2003.792,-528.106),(2004.002,-528.453),(2004.328,-528.681),(2004.755,-528.787),(2152.92,-528.8),(2153.321,-528.832),(2153.575,-528.975),(2153.7,-529.53),(2153.698,-542.553),(2153.574,-543.028),(2153.18,-543.191),(2005.063,-543.2),(2004.46,-543.27),(2004.029,-543.518),(2003.776,-543.94),(2003.701,-544.48),(2003.705,-557.642),(2003.79,-558.099),(2003.997,-558.448),(2004.322,-558.678),(2004.749,-558.787),(2152.914,-558.8),(2153.521,-558.921),(2153.648,-559.112),(2153.7,-559.52),(2153.699,-572.544),(2153.575,-573.025),(2153.18,-573.191),(2005.074,-573.2),(2004.532,-573.25),(2004.186,-573.394),(2003.84,-573.783),(2003.701,-574.452),(2003.704,-587.618),(2003.785,-588.086),(2003.991,-588.442),(2004.315,-588.675),(2004.749,-588.787),(2153.411,-588.86),(2153.628,-589.061),(2153.699,-589.5),(2153.699,-602.505),(2153.602,-602.987),(2153.287,-603.175),(2080.069,-603.2),(2079.257,-603.354),(2078.843,-603.776),(2078.701,-604.457),(2078.7,-628.5),(2079.3,-628.5)],
  [(2229.436,-433.49),(2235.756,-430.873),(2238.962,-424.372),(2239,-318.932),(2219,-318.932),(2219.038,-424.372),(2222.244,-430.873)],
  [(2239,-201.846),(2237.848,-190.518),(2233.63,-182.032),(2226.232,-176.22),(2216.558,-173.704),(1946.042,-173.504),(1933.844,-175.344),(1928.063,-178.458),(1923.76,-182.832),(1920.794,-188.481),(1919.25,-195.469),(1919,-318.932),(1939,-318.932),(1939.071,-198.427),(1940.161,-194.392),(1946.931,-193.5),(2069,-193.5),(2078.7,-198.5),(2078.291,-213.175),(2004.361,-213.305),(2003.702,-227.589),(2004.584,-228.762),(2153.629,-229.064),(2153.189,-243.19),(2004.186,-243.394),(2003.702,-257.565),(2004.761,-258.788),(2153.699,-259.461),(2153.184,-273.19),(2004.375,-273.3),(2003.702,-287.56),(2004.755,-288.787),(2152.935,-288.8),(2153.7,-289.575),(2153.18,-303.191),(2004.597,-303.236),(2003.702,-304.411),(2003.702,-317.56),(2005.111,-318.8),(2154.221,-318.932),(2152.959,-318.2),(2004.535,-318.115),(2004.811,-303.81),(2152.888,-303.8),(2154.3,-302.404),(2154.291,-289.298),(2153.238,-288.212),(2004.686,-288.17),(2004.576,-273.865),(2153.245,-273.787),(2154.293,-272.678),(2154.3,-259.574),(2152.964,-258.2),(2004.82,-258.191),(2004.3,-244.622),(2005.035,-243.8),(2153.202,-243.791),(2154.292,-242.683),(2154.3,-229.622),(2152.888,-228.2),(2004.811,-228.19),(2004.518,-213.894),(2078.481,-213.746),(2079.296,-212.612),(2079.3,-198.5),(2089,-193.5),(2211.398,-193.501),(2217.488,-194.21),(2218.604,-195.981),(2218.995,-200.544),(2219,-318.932),(2239,-318.932)])
P(toplevel, L5_0, [(-3150,10),(-3250,100),(-3500,100),(-3500,-100),(-3250,-100),(-3150,-10),(3150,-10),(3250,-100),(3500,-100),(3500,100),(3250,100),(3150,10)])

lib.write_gds('toplevel.gds')
